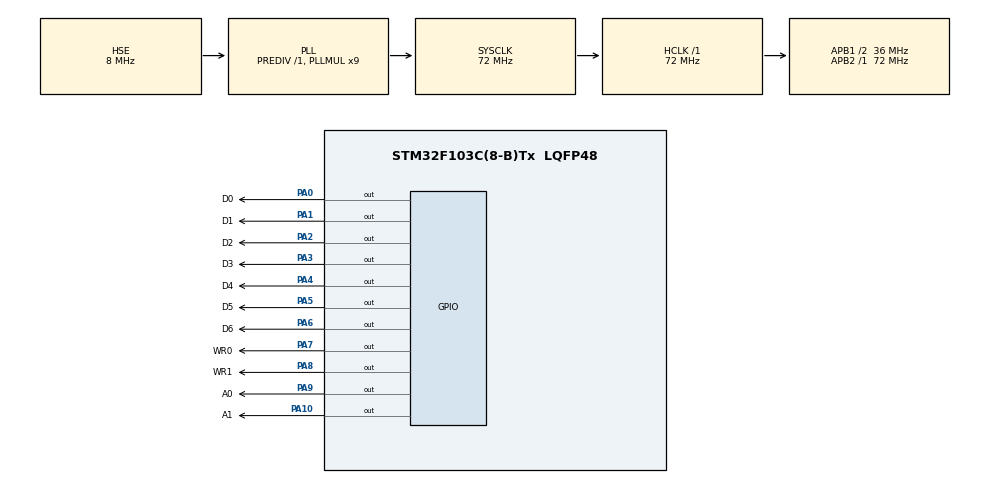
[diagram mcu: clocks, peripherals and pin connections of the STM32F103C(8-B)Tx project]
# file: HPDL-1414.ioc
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Mcu.Family=STM32F1
RCC.PLLSourceVirtual=RCC_PLLSOURCE_HSE
PD1-OSC_OUT.Mode=HSE-External-Oscillator
PA9.GPIO_Label=A0
PA6.GPIO_Label=D6
PD0-OSC_IN.Signal=RCC_OSC_IN
RCC.APB1CLKDivider=RCC_HCLK_DIV2
RCC.SYSCLKSource=RCC_SYSCLKSOURCE_PLLCLK
ProjectManager.StackSize=0x400
PA0-WKUP.GPIO_Label=D0
PA0-WKUP.Signal=GPIO_Output
PD1-OSC_OUT.Signal=RCC_OSC_OUT
PA13.Signal=SYS_JTMS-SWDIO
PA8.GPIO_Label=WR1
ProjectManager.TargetToolchain=STM32CubeIDE
RCC.HCLKFreq_Value=72000000
RCC.APB2TimFreq_Value=72000000
PA9.Signal=GPIO_Output
RCC.USBFreq_Value=72000000
PA1.Signal=GPIO_Output
RCC.AHBFreq_Value=72000000
PD0-OSC_IN.Mode=HSE-External-Oscillator
PA5.Signal=GPIO_Output
board=custom
RCC.PLLMUL=RCC_PLL_MUL9
RCC.APB2Freq_Value=72000000
PA14.Mode=Serial_Wire
PA1.GPIO_Label=D1
PA10.GPIO_Label=A1
PA8.Signal=GPIO_Output
PA13.Mode=Serial_Wire
Mcu.Name=STM32F103C(8-B)Tx
PA2.Signal=GPIO_Output
PA4.Signal=GPIO_Output
RCC.SYSCLKFreq_VALUE=72000000
Mcu.Package=LQFP48
PA6.Signal=GPIO_Output
PA7.GPIO_Label=WR0
PA5.GPIO_Label=D5
PA2.GPIO_Label=D2
PA10.Signal=GPIO_Output
PA14.Signal=SYS_JTCK-SWCLK
ProjectManager.HeapSize=0x200
NVIC.PriorityGroup=NVIC_PRIORITYGROUP_4
RCC.APB1TimFreq_Value=72000000
RCC.APB1Freq_Value=36000000
PA4.GPIO_Label=D4
PA3.GPIO_Label=D3
PA3.Signal=GPIO_Output
PA7.Signal=GPIO_Output

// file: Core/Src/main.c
/* USER CODE BEGIN Header */
/**
  ******************************************************************************
  * @file           : main.c
  * @brief          : Main program body
  ******************************************************************************
  * @attention
  *
  * <h2><center>&copy; Copyright (c) 2020 STMicroelectronics.
  * All rights reserved.</center></h2>
  *
  * This software component is licensed by ST under BSD 3-Clause license,
  * the "License"; You may not use this file except in compliance with the
  * License. You may obtain a copy of the License at:
  *                        opensource.org/licenses/BSD-3-Clause
  *
  ******************************************************************************
  */
/* USER CODE END Header */

#include "main.h"

/* USER CODE BEGIN Includes */
#include <stdio.h>
#include <stdlib.h>
#include "../HPDL/HPDL.h"
/* USER CODE END Includes */

/* USER CODE BEGIN PD */

/* --------------------------------- DEMO ------------------------------------*/

//#define COUNT_DEMO
//#define SCAN_DEMO
#define TIMER_DEMO

#define DELAY		1000

/* ---------------------------------------------------------------------------*/

/* USER CODE END PD */

void SystemClock_Config(void);
static void MX_GPIO_Init(void);

int main(void){

  /* MCU Configuration--------------------------------------------------------*/

  /* Reset of all peripherals, Initializes the Flash interface and the Systick. */
  HAL_Init();

  /* Configure the system clock */
  SystemClock_Config();

  /* Initialize all configured peripherals */
  MX_GPIO_Init();
  /* USER CODE BEGIN 2 */

  hpdl_init();
  hpdl_clear();

  /* USER CODE END 2 */

  /* Infinite loop */
  /* USER CODE BEGIN WHILE */
#if defined(COUNT_DEMO)
  char anim[4] = "1/-\\";
  uint8_t frame = 0;
  uint16_t count = 0;
  char sProc[9];
#elif defined(SCAN_DEMO)
  uint8_t pos = 0;
  uint8_t dir = 0;
#elif defined(TIMER_DEMO)
  uint32_t tick = 0;
  uint8_t hours = 0;
  uint8_t minutes = 0;
  uint8_t seconds = 0;
  uint8_t col = 0;
  char str[9];
#endif

  while(1){
#if defined(COUNT_DEMO)
	  itoa(count++, sProc, 10);
	  hpdl_prints(0, sProc);
	  hpdl_printc(7, anim[frame++]);

	  if(frame > 3) frame = 0;

	  HAL_Delay(DELAY);
#elif defined(SCAN_DEMO)
	  hpdl_clear();
	  hpdl_prints(pos, "()");

	  if((pos == (4 * DISP_NUM - 2)) || (!pos && dir)) dir ^= 1;
	  if(dir) pos--;
	  else pos++;

	  HAL_Delay(DELAY);
#elif defined(TIMER_DEMO)
	  sprintf(str, "%02d%c%02d%c%02d", hours, (col ? ':' : ' '), minutes, (col ? ':' : ' '), seconds);
	  hpdl_prints(0, str);

	  if(tick < 86400){
		  tick++;
		  col ^= 1;
	  }

	  hours = tick / 3600;
	  minutes = (tick - (3600 * hours)) / 60;
	  seconds = (tick - (3600 * hours) - (minutes * 60));

	  HAL_Delay(DELAY);
#endif
    /* USER CODE END WHILE */

  }
}

void SystemClock_Config(void)
{
  RCC_OscInitTypeDef RCC_OscInitStruct = {0};
  RCC_ClkInitTypeDef RCC_ClkInitStruct = {0};

  /** Initializes the CPU, AHB and APB busses clocks
  */
  RCC_OscInitStruct.OscillatorType = RCC_OSCILLATORTYPE_HSE;
  RCC_OscInitStruct.HSEState = RCC_HSE_ON;
  RCC_OscInitStruct.HSEPredivValue = RCC_HSE_PREDIV_DIV1;
  RCC_OscInitStruct.HSIState = RCC_HSI_ON;
  RCC_OscInitStruct.PLL.PLLState = RCC_PLL_ON;
  RCC_OscInitStruct.PLL.PLLSource = RCC_PLLSOURCE_HSE;
  RCC_OscInitStruct.PLL.PLLMUL = RCC_PLL_MUL9;
  if (HAL_RCC_OscConfig(&RCC_OscInitStruct) != HAL_OK)
  {
    Error_Handler();
  }
  /** Initializes the CPU, AHB and APB busses clocks
  */
  RCC_ClkInitStruct.ClockType = RCC_CLOCKTYPE_HCLK|RCC_CLOCKTYPE_SYSCLK
                              |RCC_CLOCKTYPE_PCLK1|RCC_CLOCKTYPE_PCLK2;
  RCC_ClkInitStruct.SYSCLKSource = RCC_SYSCLKSOURCE_PLLCLK;
  RCC_ClkInitStruct.AHBCLKDivider = RCC_SYSCLK_DIV1;
  RCC_ClkInitStruct.APB1CLKDivider = RCC_HCLK_DIV2;
  RCC_ClkInitStruct.APB2CLKDivider = RCC_HCLK_DIV1;

  if (HAL_RCC_ClockConfig(&RCC_ClkInitStruct, FLASH_LATENCY_2) != HAL_OK)
  {
    Error_Handler();
  }
}

static void MX_GPIO_Init(void)
{
  GPIO_InitTypeDef GPIO_InitStruct = {0};

  /* GPIO Ports Clock Enable */
  __HAL_RCC_GPIOD_CLK_ENABLE();
  __HAL_RCC_GPIOA_CLK_ENABLE();

  /*Configure GPIO pin Output Level */
  HAL_GPIO_WritePin(GPIOA, D0_Pin|D1_Pin|D2_Pin|D3_Pin
                          |D4_Pin|D5_Pin|D6_Pin|WR0_Pin
                          |WR1_Pin|A0_Pin|A1_Pin, GPIO_PIN_RESET);

  /*Configure GPIO pins : D0_Pin D1_Pin D2_Pin D3_Pin
                           D4_Pin D5_Pin D6_Pin WR0_Pin
                           WR1_Pin A0_Pin A1_Pin */
  GPIO_InitStruct.Pin = D0_Pin|D1_Pin|D2_Pin|D3_Pin
                          |D4_Pin|D5_Pin|D6_Pin|WR0_Pin
                          |WR1_Pin|A0_Pin|A1_Pin;
  GPIO_InitStruct.Mode = GPIO_MODE_OUTPUT_PP;
  GPIO_InitStruct.Pull = GPIO_NOPULL;
  GPIO_InitStruct.Speed = GPIO_SPEED_FREQ_LOW;
  HAL_GPIO_Init(GPIOA, &GPIO_InitStruct);

}

void Error_Handler(void)
{
}

/************************ (C) COPYRIGHT STMicroelectronics *****END OF FILE****/
